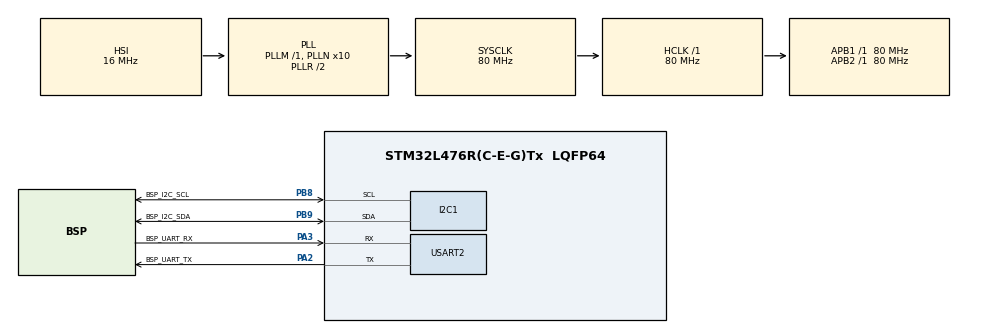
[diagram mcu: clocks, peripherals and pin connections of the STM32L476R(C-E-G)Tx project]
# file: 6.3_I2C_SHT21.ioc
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I2C1.Timing=0x10909CEC
Mcu.Family=STM32L4
Mcu.Name=STM32L476R(C-E-G)Tx
Mcu.Package=LQFP64
NVIC.PriorityGroup=NVIC_PRIORITYGROUP_4
PA2.GPIO_Label=BSP_UART_TX
PA2.Mode=Asynchronous
PA2.Signal=USART2_TX
PA3.GPIO_Label=BSP_UART_RX
PA3.Mode=Asynchronous
PA3.Signal=USART2_RX
PB8.GPIO_Label=BSP_I2C_SCL
PB8.Mode=I2C
PB8.Signal=I2C1_SCL
PB9.GPIO_Label=BSP_I2C_SDA
PB9.Mode=I2C
PB9.Signal=I2C1_SDA
ProjectManager.HeapSize=0x200
ProjectManager.StackSize=0x400
ProjectManager.TargetToolchain=STM32CubeIDE
RCC.ADCFreq_Value=64000000
RCC.AHBFreq_Value=80000000
RCC.APB1Freq_Value=80000000
RCC.APB1TimFreq_Value=80000000
RCC.APB2Freq_Value=80000000
RCC.APB2TimFreq_Value=80000000
RCC.CortexFreq_Value=80000000
RCC.HCLKFreq_Value=80000000
RCC.HSE_VALUE=8000000
RCC.HSI_VALUE=16000000
RCC.LSE_VALUE=32768
RCC.MSI_VALUE=4000000
RCC.PLLN=10
RCC.PLLSourceVirtual=RCC_PLLSOURCE_HSI
RCC.PREFETCH_ENABLE=1
RCC.SYSCLKFreq_VALUE=80000000
RCC.SYSCLKSource=RCC_SYSCLKSOURCE_PLLCLK
RCC.USBFreq_Value=64000000
RCC.VCOOutputFreq_Value=160000000
USART2.VirtualMode-Asynchronous=VM_ASYNC
board=NUCLEO-L476RG

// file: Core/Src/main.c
/* USER CODE BEGIN Header */
/**
  ******************************************************************************
  * @file           : main.c
  * @brief          : Main program body
  ******************************************************************************
  * @attention
  *
  * Copyright (c) 2024 STMicroelectronics.
  * All rights reserved.
  *
  * This software is licensed under terms that can be found in the LICENSE file
  * in the root directory of this software component.
  * If no LICENSE file comes with this software, it is provided AS-IS.
  *
  ******************************************************************************
  */
/* USER CODE END Header */
#include "main.h"

/* USER CODE BEGIN Includes */
#include "stdio.h"
#include "string.h"
#include "sht2x_for_stm32_hal.h"

/* USER CODE END Includes */

I2C_HandleTypeDef hi2c1;

UART_HandleTypeDef huart2;

void SystemClock_Config(void);
static void MX_GPIO_Init(void);
static void MX_USART2_UART_Init(void);
static void MX_I2C1_Init(void);

int main(void)
{

  /* MCU Configuration--------------------------------------------------------*/

  /* Reset of all peripherals, Initializes the Flash interface and the Systick. */
  HAL_Init();

  /* Configure the system clock */
  SystemClock_Config();

  /* Initialize all configured peripherals */
  MX_GPIO_Init();
  MX_USART2_UART_Init();
  MX_I2C1_Init();
  /* USER CODE BEGIN 2 */
  SHT2x_Init(&hi2c1);
  SHT2x_SetResolution(RES_11_11);
  /* USER CODE END 2 */

  /* Infinite loop */
  while (1)
  {

    /* USER CODE BEGIN 3 */
	  unsigned char buffer[100] = { 0 };
	  		/* Gets current temperature & relative humidity. */
	  		float cel = SHT2x_GetTemperature(10);
	  		/* Converts temperature to degrees Fahrenheit and Kelvin */
	  		float fah = SHT2x_CelsiusToFahrenheit(cel);
	  		float kel = SHT2x_CelsiusToKelvin(cel);
	  		float rh = SHT2x_GetRelativeHumidity(100);
	  		/* May show warning below. Ignore and proceed. */
	  		sprintf(buffer,
	  				"%d.%d ºC, %d.%d ºF, %d.%d K, %d.%d%% RH\n",
	  				(int)SHT2x_GetInteger(cel), (int)SHT2x_GetDecimal(cel, 2),
					(int)SHT2x_GetInteger(fah), (int)SHT2x_GetDecimal(fah, 1),
					(int)SHT2x_GetInteger(kel), (int)SHT2x_GetDecimal(kel, 1),
					(int)SHT2x_GetInteger(rh), (int)SHT2x_GetDecimal(rh, 2));
	  		HAL_UART_Transmit(&huart2, buffer, sizeof(buffer), 100);
	  		HAL_Delay(1000);
  }
  /* USER CODE END 3 */
}

void SystemClock_Config(void)
{
  RCC_OscInitTypeDef RCC_OscInitStruct = {0};
  RCC_ClkInitTypeDef RCC_ClkInitStruct = {0};

  /** Configure the main internal regulator output voltage
  */
  if (HAL_PWREx_ControlVoltageScaling(PWR_REGULATOR_VOLTAGE_SCALE1) != HAL_OK)
  {
    Error_Handler();
  }

  /** Initializes the RCC Oscillators according to the specified parameters
  * in the RCC_OscInitTypeDef structure.
  */
  RCC_OscInitStruct.OscillatorType = RCC_OSCILLATORTYPE_HSI;
  RCC_OscInitStruct.HSIState = RCC_HSI_ON;
  RCC_OscInitStruct.HSICalibrationValue = RCC_HSICALIBRATION_DEFAULT;
  RCC_OscInitStruct.PLL.PLLState = RCC_PLL_ON;
  RCC_OscInitStruct.PLL.PLLSource = RCC_PLLSOURCE_HSI;
  RCC_OscInitStruct.PLL.PLLM = 1;
  RCC_OscInitStruct.PLL.PLLN = 10;
  RCC_OscInitStruct.PLL.PLLP = RCC_PLLP_DIV7;
  RCC_OscInitStruct.PLL.PLLQ = RCC_PLLQ_DIV2;
  RCC_OscInitStruct.PLL.PLLR = RCC_PLLR_DIV2;
  if (HAL_RCC_OscConfig(&RCC_OscInitStruct) != HAL_OK)
  {
    Error_Handler();
  }

  /** Initializes the CPU, AHB and APB buses clocks
  */
  RCC_ClkInitStruct.ClockType = RCC_CLOCKTYPE_HCLK|RCC_CLOCKTYPE_SYSCLK
                              |RCC_CLOCKTYPE_PCLK1|RCC_CLOCKTYPE_PCLK2;
  RCC_ClkInitStruct.SYSCLKSource = RCC_SYSCLKSOURCE_PLLCLK;
  RCC_ClkInitStruct.AHBCLKDivider = RCC_SYSCLK_DIV1;
  RCC_ClkInitStruct.APB1CLKDivider = RCC_HCLK_DIV1;
  RCC_ClkInitStruct.APB2CLKDivider = RCC_HCLK_DIV1;

  if (HAL_RCC_ClockConfig(&RCC_ClkInitStruct, FLASH_LATENCY_4) != HAL_OK)
  {
    Error_Handler();
  }
}

static void MX_I2C1_Init(void)
{

  hi2c1.Instance = I2C1;
  hi2c1.Init.Timing = 0x10909CEC;
  hi2c1.Init.OwnAddress1 = 0;
  hi2c1.Init.AddressingMode = I2C_ADDRESSINGMODE_7BIT;
  hi2c1.Init.DualAddressMode = I2C_DUALADDRESS_DISABLE;
  hi2c1.Init.OwnAddress2 = 0;
  hi2c1.Init.OwnAddress2Masks = I2C_OA2_NOMASK;
  hi2c1.Init.GeneralCallMode = I2C_GENERALCALL_DISABLE;
  hi2c1.Init.NoStretchMode = I2C_NOSTRETCH_DISABLE;
  if (HAL_I2C_Init(&hi2c1) != HAL_OK)
  {
    Error_Handler();
  }

  /** Configure Analogue filter
  */
  if (HAL_I2CEx_ConfigAnalogFilter(&hi2c1, I2C_ANALOGFILTER_ENABLE) != HAL_OK)
  {
    Error_Handler();
  }

  /** Configure Digital filter
  */
  if (HAL_I2CEx_ConfigDigitalFilter(&hi2c1, 0) != HAL_OK)
  {
    Error_Handler();
  }

}

static void MX_USART2_UART_Init(void)
{

  huart2.Instance = USART2;
  huart2.Init.BaudRate = 115200;
  huart2.Init.WordLength = UART_WORDLENGTH_8B;
  huart2.Init.StopBits = UART_STOPBITS_1;
  huart2.Init.Parity = UART_PARITY_NONE;
  huart2.Init.Mode = UART_MODE_TX_RX;
  huart2.Init.HwFlowCtl = UART_HWCONTROL_NONE;
  huart2.Init.OverSampling = UART_OVERSAMPLING_16;
  huart2.Init.OneBitSampling = UART_ONE_BIT_SAMPLE_DISABLE;
  huart2.AdvancedInit.AdvFeatureInit = UART_ADVFEATURE_NO_INIT;
  if (HAL_UART_Init(&huart2) != HAL_OK)
  {
    Error_Handler();
  }

}

static void MX_GPIO_Init(void)
{

  /* GPIO Ports Clock Enable */
  __HAL_RCC_GPIOA_CLK_ENABLE();
  __HAL_RCC_GPIOB_CLK_ENABLE();

}

void Error_Handler(void)
{
  __disable_irq();
  while (1)
  {
  }
}
